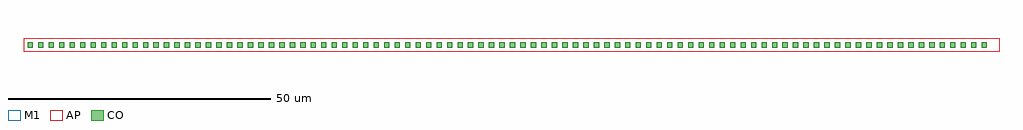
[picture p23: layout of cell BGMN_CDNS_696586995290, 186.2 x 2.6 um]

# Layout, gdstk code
import gdstk
lib = gdstk.Library(unit=1e-6, precision=1e-09)
def R(c, l, rs):  # rectangles x0, y0, x1, y1
    for r in rs: c.add(gdstk.rectangle(r[:2], r[2:], *l))
def A(c, l, x, y, w, h, nx, ny, dx, dy):  # array of equal rectangles
    R(c, l, [(x+i*dx, y+j*dy, x+i*dx+w, y+j*dy+h) for i in range(nx) for j in range(ny)])
AP = (3, 1)
CO = (11, 0)
M1 = (13, 0)

bgmn_cdns_696586995290 = lib.new_cell('BGMN_CDNS_696586995290')
R(bgmn_cdns_696586995290, AP, [(0,0,186.2,2.6)])
A(bgmn_cdns_696586995290, CO, 0.8, 0.8, 1, 1, 92, 1, 2, 0)
R(bgmn_cdns_696586995290, M1, [(0,0,186.2,2.6)])

lib.write_gds('BGMN_CDNS_696586995290.gds')
